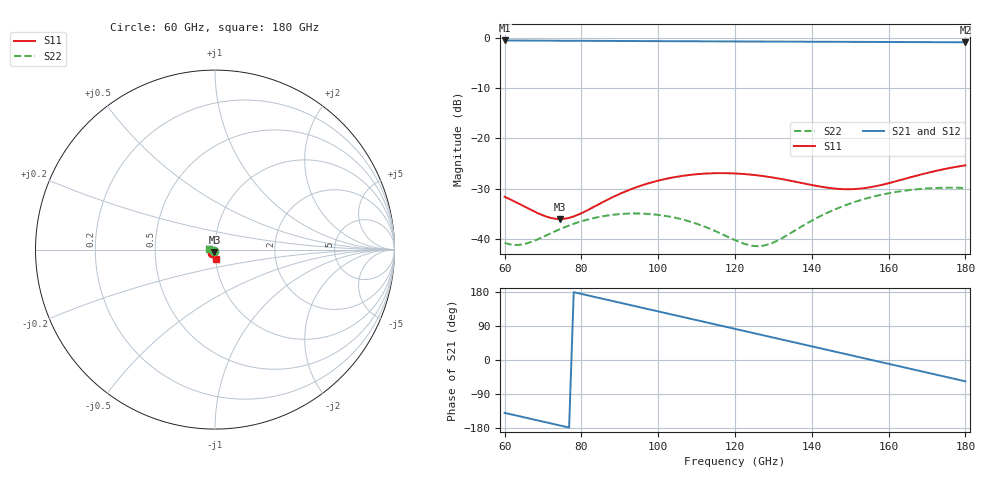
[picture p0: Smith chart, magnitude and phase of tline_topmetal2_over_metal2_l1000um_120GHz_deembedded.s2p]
! Created with skrf 2.0.1 (http://scikit-rf.org).
# GHz S DB R 50.0
!freq dBS11 angS11 dBS21 angS21 dBS12 angS12 dBS22 angS22
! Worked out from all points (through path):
!   101 points, 60 GHz to 180 GHz, reference 50 ohm
!   highest |S21| = -0.58 dB at 60 GHz (marker M1); lowest = -0.9 dB at 180 GHz (marker M2)
!   group delay of S21, straight-line fit = 6.41 ps
!   lowest |S11| = -36.0 dB at 74.4 GHz (marker M3), VSWR 1.03, Z = 49.7 - j1.55 ohm
!   |S11| at or under -10 dB: start of sweep to end of sweep
!   |S22| runs from -41.4 to -29.8 dB; largest |S21 - S12| = 1.6e-13
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60  -31.57 -124.8  -0.58 -139.5  -0.58 -139.5  -40.69 -108.2
64.8  -33.35 -124.2  -0.60 -150.6  -0.60 -150.6  -40.99 -94.5
70.8  -35.48 -113.2  -0.62 -164.4  -0.62 -164.4  -39.23 -86.2
74.4  -35.98 -100.9  -0.63 -172.7  -0.63 -172.7  -37.99 -87.6
80.4  -34.68 -82.0  -0.65 173.4  -0.65 173.4  -36.34 -96.6
85.2  -32.78 -75.1  -0.67 162.4  -0.67 162.4  -35.48 -107.3
90  -30.99 -74.2  -0.68 151.3  -0.68 151.3  -35.00 -119.8
94.8  -29.54 -76.6  -0.70 140.2  -0.70 140.2  -34.88 -133.8
100.8  -28.22 -82.0  -0.72 126.4  -0.72 126.4  -35.23 -153.1
110.4  -27.07 -92.6  -0.75 104.3  -0.75 104.3  -37.01 170.1
115.2  -26.89 -98.0  -0.76 93.2  -0.76 93.2  -38.48 146.9
120  -26.94 -102.8  -0.78 82.1  -0.78 82.1  -40.16 117.4
124.8  -27.23 -106.9  -0.79 71.1  -0.79 71.1  -41.31 79.3
128.4  -27.58 -109.3  -0.80 62.8  -0.80 62.8  -41.07 47.5
134.4  -28.38 -111.0  -0.82 48.9  -0.82 48.9  -38.81 1.5
140.4  -29.29 -109.1  -0.83 35.1  -0.83 35.1  -36.13 -32.6
146.4  -29.97 -102.9  -0.85 21.3  -0.85 21.3  -33.94 -60.0
151.2  -30.03 -95.8  -0.86 10.2  -0.86 10.2  -32.59 -79.6
156  -29.56 -89.0  -0.87 -0.9  -0.87 -0.9  -31.54 -98.2
160.8  -28.71 -84.2  -0.89 -12.0  -0.89 -12.0  -30.76 -116.2
170.4  -26.78 -82.0  -0.91 -34.1  -0.91 -34.1  -29.90 -152.2
180  -25.34 -86.2  -0.94 -56.3  -0.94 -56.3  -29.82 170.4
